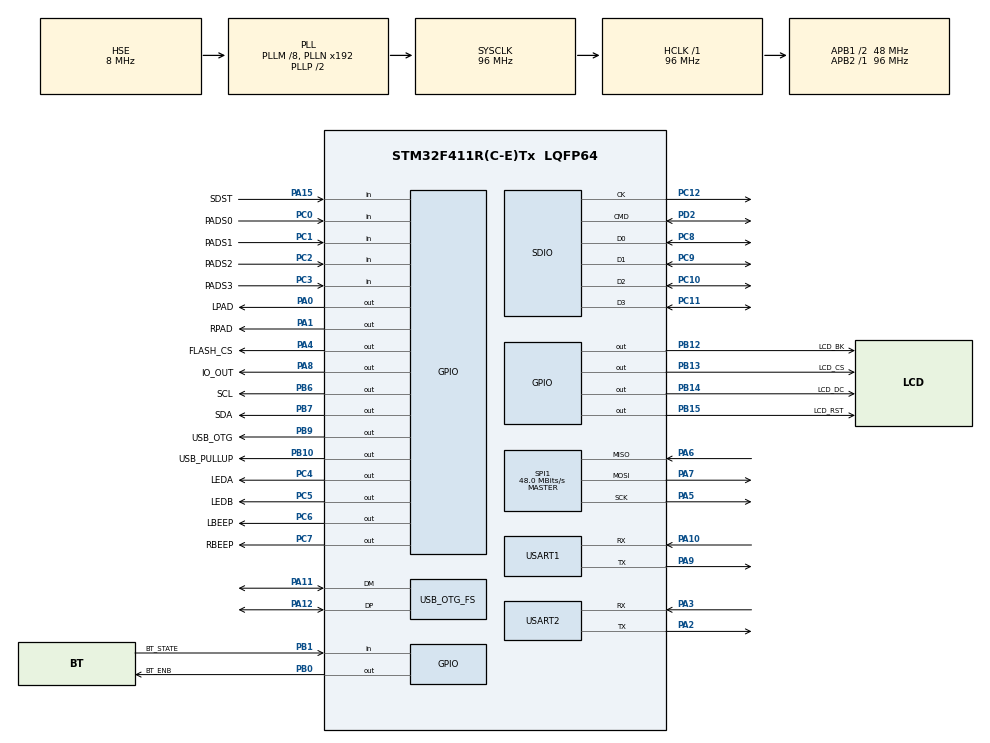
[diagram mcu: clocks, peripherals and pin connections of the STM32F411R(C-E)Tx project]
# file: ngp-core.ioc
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FATFS.BSP.number=1
FATFS.USE_DMA_CODE_SD=0
FATFS0.BSP.STBoard=false
FATFS0.BSP.api=UnknownBspDriver
FATFS0.BSP.i2caddr=0
FATFS0.BSP.i2creg=0
FATFS0.BSP.instance=PA15
FATFS0.BSP.ip=GPIO
FATFS0.BSP.mode=Input
FATFS0.BSP.name=Detect_SDIO
FATFS0.BSP.solution=PA15
Mcu.Family=STM32F4
Mcu.Name=STM32F411R(C-E)Tx
Mcu.Package=LQFP64
NVIC.OTG_FS_IRQn=true\:0\:0\:false\:false\:true\:true
NVIC.PriorityGroup=NVIC_PRIORITYGROUP_4
NVIC.TIM1_UP_TIM10_IRQn=true\:0\:0\:false\:false\:true\:true
PA0-WKUP.GPIO_Label=LPAD
PA0-WKUP.GPIO_Speed=GPIO_SPEED_FREQ_VERY_HIGH
PA0-WKUP.PinState=GPIO_PIN_RESET
PA0-WKUP.Signal=GPIO_Output
PA1.GPIO_Label=RPAD
PA1.GPIO_Speed=GPIO_SPEED_FREQ_VERY_HIGH
PA1.Signal=GPIO_Output
PA10.Mode=Asynchronous
PA10.Signal=USART1_RX
PA11.GPIO_PuPd=GPIO_NOPULL
PA11.Mode=Device_Only
PA11.Signal=USB_OTG_FS_DM
PA12.GPIO_PuPd=GPIO_NOPULL
PA12.Mode=Device_Only
PA12.Signal=USB_OTG_FS_DP
PA13.Mode=Serial_Wire
PA13.Signal=SYS_JTMS-SWDIO
PA14.Mode=Serial_Wire
PA14.Signal=SYS_JTCK-SWCLK
PA15.GPIO_Label=SDST
PA15.GPIO_PuPd=GPIO_PULLUP
PA15.Signal=GPIO_Input
PA2.Mode=Asynchronous
PA2.Signal=USART2_TX
PA3.Mode=Asynchronous
PA3.Signal=USART2_RX
PA4.GPIO_Label=FLASH_CS
PA4.GPIO_Speed=GPIO_SPEED_FREQ_VERY_HIGH
PA4.PinState=GPIO_PIN_SET
PA4.Signal=GPIO_Output
PA5.Mode=Full_Duplex_Master
PA5.Signal=SPI1_SCK
PA6.Mode=Full_Duplex_Master
PA6.Signal=SPI1_MISO
PA7.Mode=Full_Duplex_Master
PA7.Signal=SPI1_MOSI
PA8.GPIO_Label=IO_OUT
PA8.GPIO_Speed=GPIO_SPEED_FREQ_VERY_HIGH
PA8.Signal=GPIO_Output
PA9.Mode=Asynchronous
PA9.Signal=USART1_TX
PB0.GPIO_Label=BT_ENB
PB0.GPIO_Speed=GPIO_SPEED_FREQ_VERY_HIGH
PB0.PinState=GPIO_PIN_RESET
PB0.Signal=GPIO_Output
PB1.GPIO_Label=BT_STATE
PB1.GPIO_PuPd=GPIO_PULLUP
PB1.Signal=GPIO_Input
PB10.GPIO_Label=USB_PULLUP
PB10.GPIO_ModeDefaultOutputPP=GPIO_MODE_OUTPUT_PP
PB10.GPIO_PuPd=GPIO_NOPULL
PB10.GPIO_Speed=GPIO_SPEED_FREQ_VERY_HIGH
PB10.Signal=GPIO_Output
PB12.GPIO_Label=LCD_BK
PB12.GPIO_Speed=GPIO_SPEED_FREQ_VERY_HIGH
PB12.Signal=GPIO_Output
PB13.GPIO_Label=LCD_CS
PB13.GPIO_Speed=GPIO_SPEED_FREQ_VERY_HIGH
PB13.PinState=GPIO_PIN_SET
PB13.Signal=GPIO_Output
PB14.GPIO_Label=LCD_DC
PB14.GPIO_Speed=GPIO_SPEED_FREQ_VERY_HIGH
PB14.Signal=GPIO_Output
PB15.GPIO_Label=LCD_RST
PB15.GPIO_Speed=GPIO_SPEED_FREQ_VERY_HIGH
PB15.PinState=GPIO_PIN_SET
PB15.Signal=GPIO_Output
PB6.GPIO_Label=SCL
PB6.GPIO_Speed=GPIO_SPEED_FREQ_VERY_HIGH
PB6.Signal=GPIO_Output
PB7.GPIO_Label=SDA
PB7.GPIO_ModeDefaultOutputPP=GPIO_MODE_OUTPUT_OD
PB7.GPIO_Speed=GPIO_SPEED_FREQ_VERY_HIGH
PB7.Signal=GPIO_Output
PB9.GPIO_Label=USB_OTG
PB9.GPIO_Speed=GPIO_SPEED_FREQ_VERY_HIGH
PB9.PinState=GPIO_PIN_SET
PB9.Signal=GPIO_Output
PC0.GPIO_Label=PADS0
PC0.GPIO_PuPd=GPIO_PULLUP
PC0.Signal=GPIO_Input
PC1.GPIO_Label=PADS1
PC1.GPIO_PuPd=GPIO_PULLUP
PC1.Signal=GPIO_Input
PC10.Mode=SD_4_bits_Wide_bus
PC10.Signal=SDIO_D2
PC11.Mode=SD_4_bits_Wide_bus
PC11.Signal=SDIO_D3
PC12.Mode=SD_4_bits_Wide_bus
PC12.Signal=SDIO_CK
PC14-OSC32_IN.Mode=LSE-External-Oscillator
PC14-OSC32_IN.Signal=RCC_OSC32_IN
PC15-OSC32_OUT.Mode=LSE-External-Oscillator
PC15-OSC32_OUT.Signal=RCC_OSC32_OUT
PC2.GPIO_Label=PADS2
PC2.GPIO_PuPd=GPIO_PULLUP
PC2.Signal=GPIO_Input
PC3.GPIO_Label=PADS3
PC3.GPIO_PuPd=GPIO_PULLUP
PC3.Signal=GPIO_Input
PC4.GPIO_Label=LEDA
PC4.GPIO_Speed=GPIO_SPEED_FREQ_VERY_HIGH
PC4.Signal=GPIO_Output
PC5.GPIO_Label=LEDB
PC5.GPIO_Speed=GPIO_SPEED_FREQ_VERY_HIGH
PC5.Signal=GPIO_Output
PC6.GPIO_Label=LBEEP
PC6.GPIO_Speed=GPIO_SPEED_FREQ_VERY_HIGH
PC6.Signal=GPIO_Output
PC7.GPIO_Label=RBEEP
PC7.GPIO_Speed=GPIO_SPEED_FREQ_VERY_HIGH
PC7.Signal=GPIO_Output
PC8.Mode=SD_4_bits_Wide_bus
PC8.Signal=SDIO_D0
PC9.Mode=SD_4_bits_Wide_bus
PC9.Signal=SDIO_D1
PD2.Mode=SD_4_bits_Wide_bus
PD2.Signal=SDIO_CMD
PH0\ -\ OSC_IN.Mode=HSE-External-Oscillator
PH0\ -\ OSC_IN.Signal=RCC_OSC_IN
PH1\ -\ OSC_OUT.Mode=HSE-External-Oscillator
PH1\ -\ OSC_OUT.Signal=RCC_OSC_OUT
ProjectManager.HeapSize=0x200
ProjectManager.StackSize=0x400
ProjectManager.TargetToolchain=SW4STM32
RCC.48MHZClocksFreq_Value=48000000
RCC.AHBFreq_Value=96000000
RCC.APB1CLKDivider=RCC_HCLK_DIV2
RCC.APB1Freq_Value=48000000
RCC.APB1TimFreq_Value=96000000
RCC.APB2Freq_Value=96000000
RCC.APB2TimFreq_Value=96000000
RCC.CortexFreq_Value=96000000
RCC.EnbaleCSS=true
RCC.HCLKFreq_Value=96000000
RCC.HSE_VALUE=8000000
RCC.HSI_VALUE=16000000
RCC.PLLM=8
RCC.SYSCLKFreq_VALUE=96000000
RCC.SYSCLKSource=RCC_SYSCLKSOURCE_PLLCLK
RCC.VCOOutputFreq_Value=192000000
SDIO.ClockDiv=4
SDIO.WideMode=SDIO_BUS_WIDE_4B
SPI1.BaudRatePrescaler=SPI_BAUDRATEPRESCALER_2
SPI1.CalculateBaudRate=48.0 MBits/s
SPI1.Direction=SPI_DIRECTION_2LINES
SPI1.Mode=SPI_MODE_MASTER
SPI1.VirtualType=VM_MASTER
TIM10.Period=239
TIM10.Prescaler=4
USART1.VirtualMode=VM_ASYNC
USART2.VirtualMode=VM_ASYNC
USB_DEVICE.CLASS_NAME_FS=MSC
USB_DEVICE.CONFIGURATION_STRING_MSC_FS=NGP Config
USB_DEVICE.INTERFACE_STRING_MSC_FS=NGP Interface
USB_DEVICE.MANUFACTURER_STRING=NSDN
USB_DEVICE.PRODUCT_STRING_MSC_FS=NyaGame Portable 32-bit
USB_DEVICE.SERIALNUMBER_STRING_MSC_FS=000000000032
USB_DEVICE.USBD_HandleTypeDef=hUsbDeviceFS
USB_DEVICE.USBD_SELF_POWERED=0
USB_DEVICE.USBD_SUPPORT_USER_STRING=0
USB_DEVICE.VirtualMode=Msc
USB_DEVICE.VirtualModeFS=Msc_FS
USB_OTG_FS.Sof_enable=ENABLE
USB_OTG_FS.Sof_enable-Device_Only=DISABLE
USB_OTG_FS.VirtualMode=Device_Only
USB_OTG_FS.low_power_enable=DISABLE
USB_OTG_FS.vbus_sensing_enable=DISABLE
VP_FATFS_VS_SDIO.Mode=SDIO
VP_TIM10_VS_ClockSourceINT.Mode=Enable_Timer
VP_USB_DEVICE_VS_USB_DEVICE_MSC_FS.Mode=MSC_FS
board=ngp-core

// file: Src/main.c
/**
  ******************************************************************************
  * @file           : main.c
  * @brief          : Main program body
  ******************************************************************************
  * This notice applies to any and all portions of this file
  * that are not between comment pairs USER CODE BEGIN and
  * USER CODE END. Other portions of this file, whether
  * inserted by the user or by software development tools
  * are owned by their respective copyright owners.
  *
  * Copyright (c) 2018 STMicroelectronics International N.V.
  * All rights reserved.
  *
  * Redistribution and use in source and binary forms, with or without
  * modification, are permitted, provided that the following conditions are met:
  *
  * 1. Redistribution of source code must retain the above copyright notice,
  *    this list of conditions and the following disclaimer.
  * 2. Redistributions in binary form must reproduce the above copyright notice,
  *    this list of conditions and the following disclaimer in the documentation
  *    and/or other materials provided with the distribution.
  * 3. Neither the name of STMicroelectronics nor the names of other
  *    contributors to this software may be used to endorse or promote products
  *    derived from this software without specific written permission.
  * 4. This software, including modifications and/or derivative works of this
  *    software, must execute solely and exclusively on microcontroller or
  *    microprocessor devices manufactured by or for STMicroelectronics.
  * 5. Redistribution and use of this software other than as permitted under
  *    this license is void and will automatically terminate your rights under
  *    this license.
  *
  * THIS SOFTWARE IS PROVIDED BY STMICROELECTRONICS AND CONTRIBUTORS "AS IS"
  * AND ANY EXPRESS, IMPLIED OR STATUTORY WARRANTIES, INCLUDING, BUT NOT
  * LIMITED TO, THE IMPLIED WARRANTIES OF MERCHANTABILITY, FITNESS FOR A
  * PARTICULAR PURPOSE AND NON-INFRINGEMENT OF THIRD PARTY INTELLECTUAL PROPERTY
  * RIGHTS ARE DISCLAIMED TO THE FULLEST EXTENT PERMITTED BY LAW. IN NO EVENT
  * SHALL STMICROELECTRONICS OR CONTRIBUTORS BE LIABLE FOR ANY DIRECT, INDIRECT,
  * INCIDENTAL, SPECIAL, EXEMPLARY, OR CONSEQUENTIAL DAMAGES (INCLUDING, BUT NOT
  * LIMITED TO, PROCUREMENT OF SUBSTITUTE GOODS OR SERVICES; LOSS OF USE, DATA,
  * OR PROFITS; OR BUSINESS INTERRUPTION) HOWEVER CAUSED AND ON ANY THEORY OF
  * LIABILITY, WHETHER IN CONTRACT, STRICT LIABILITY, OR TORT (INCLUDING
  * NEGLIGENCE OR OTHERWISE) ARISING IN ANY WAY OUT OF THE USE OF THIS SOFTWARE,
  * EVEN IF ADVISED OF THE POSSIBILITY OF SUCH DAMAGE.
  *
  ******************************************************************************
  */
#include "main.h"
#include "stm32f4xx_hal.h"
#include "fatfs.h"
#include "usb_device.h"

/* USER CODE BEGIN Includes */
#include "usbd_core.h"

#include "irq.h"
#include "lcd.h"
#include "rgboled.h"
#include "keypad.h"
#include "beeper.h"
#include "flash.h"

#define VERSION "dev180521"
/* USER CODE END Includes */

SD_HandleTypeDef hsd;

SPI_HandleTypeDef hspi1;

TIM_HandleTypeDef htim10;

UART_HandleTypeDef huart1;
UART_HandleTypeDef huart2;

/* USER CODE BEGIN PV */
/* Private variables ---------------------------------------------------------*/
	LCD* dev;
	Flash* flash;
	static uint8_t sdOK = 0;
	static uint8_t menu = 0;
	static uint8_t music = 0;

	const uint8_t cmusic = 7;

	HAL_SD_CardInfoTypeDef SDCardInfo;

	FATFS fileSystem;
	FIL testFile;
	uint8_t testBuffer[16] = "Hello Gensokyo!\0";
	UINT testBytes;
	FRESULT res;
/* USER CODE END PV */

void SystemClock_Config(void);
static void MX_GPIO_Init(void);
static void MX_SDIO_SD_Init(void);
static void MX_SPI1_Init(void);
static void MX_TIM10_Init(void);
static void MX_USART1_UART_Init(void);
static void MX_USART2_UART_Init(void);

/* USER CODE BEGIN PFP */
/* Private function prototypes -----------------------------------------------*/

/** STG Begin *********************************************************************/

#define STG_BACK 1
#define STG_MAIN 2
#define STG_COLORB 0x000000

#define RANGE_X1 4
#define RANGE_Y1 4
#define RANGE_X2 92
#define RANGE_Y2 123

void onInitPlayer(void);
void onUpdatePlayer(void);
struct Player {
	uint32_t color;
	uint8_t size;
	double x;
	double y;
	double prevX;
	double prevY;
	void (*onInit)();
	void (*onUpdate)();
} player = { 0xFF9800, 1,
	(RANGE_X2 + RANGE_X1) / 2, 108,
	(RANGE_X2 + RANGE_X1) / 2, 108,
	&onInitPlayer,
	&onUpdatePlayer
};
void onInitPlayer() {
	player.x = (RANGE_X2 + RANGE_X1) / 2;
	player.y = 108;
}
void onUpdatePlayer() {
	player.prevX = player.x; player.prevY = player.y;
	if (checkKey(LPAD_LEFT)) { player.x -= 0.4; }
	if (checkKey(LPAD_RIGHT)) { player.x += 0.4; }
	if (checkKey(LPAD_UP)) { player.y -= 0.4; }
	if (checkKey(LPAD_DOWN)) { player.y += 0.4; }

	if (player.x > RANGE_X2 - player.size) player.x = RANGE_X2 - player.size;
	if (player.x < RANGE_X1 + player.size) player.x = RANGE_X1 + player.size;
	if (player.y > RANGE_Y2 - player.size) player.y = RANGE_Y2 - player.size;
	if (player.y < RANGE_Y1 + player.size) player.y = RANGE_Y1 + player.size;

	if ((char) player.x != (char) player.prevX || (char) player.y != (char) player.prevY) {
		dev->colorf(dev->p, STG_COLORB);
		dev->rect(dev->p,
			player.prevX - player.size, player.prevY - player.size,
			player.prevX + player.size, player.prevY + player.size,
			1
		);
	}
	dev->colorf(dev->p, player.color);
	dev->rect(dev->p,
		player.x - player.size, player.y - player.size,
		player.x + player.size, player.y + player.size,
		1
	);
}

void STG(uint8_t type) {
	if (type == STG_BACK) {
		dev->colorf(dev->p, 0xFFFFFF);
		dev->rect(dev->p, RANGE_X1 - 4, RANGE_Y1 - 4, RANGE_X2 + 4, RANGE_Y2 + 4, 1);
		dev->colorf(dev->p, STG_COLORB);
		dev->rect(dev->p, RANGE_X1 - 2, RANGE_Y1 - 2, RANGE_X2 + 2, RANGE_Y2 + 2, 1);
		dev->colorf(dev->p, 0xFFFFFF);
		dev->rect(dev->p, RANGE_X1 - 1, RANGE_Y1 - 1, RANGE_X2 + 1, RANGE_Y2 + 1, 0);
		dev->colorf(dev->p, 0x7986CB);
		dev->font(dev->p, Big);
		dev->draw(dev->p, RANGE_X2 + 12, RANGE_Y1 + 4, 'T');
		dev->draw(dev->p, RANGE_X2 + 12 + 8, RANGE_Y1 + 4, 'H');
		dev->font(dev->p, Small);
		dev->colorf(dev->p, 0xFFFFFF);

		player.onInit();
	} else if (type == STG_MAIN) {
		player.onUpdate();
	}
}

/** STG End ***********************************************************************/

/* USER CODE END PFP */

/* USER CODE BEGIN 0 */
void checkSD() {
	if (HAL_GPIO_ReadPin(SDST_GPIO_Port, SDST_Pin) == GPIO_PIN_RESET && sdOK == 0) {
		HAL_SD_Init(&hsd);
		HAL_SD_GetCardInfo(&hsd, &SDCardInfo);
		sdOK = 1;
		USBD_Start(&hUsbDeviceFS);
	} else if (HAL_GPIO_ReadPin(SDST_GPIO_Port, SDST_Pin) == GPIO_PIN_SET && sdOK == 1) {
		HAL_SD_DeInit(&hsd);
		sdOK = 0;
		USBD_Stop(&hUsbDeviceFS);
	}
	if (sdOK == 1) {
		dev->colorb(dev->p, 0x66CCFF);
		dev->colorf(dev->p, 0x000000);
		dev->print(dev->p, 113, 118, "SD");
		dev->colorf(dev->p, 0x66CCFF);
		dev->rect(dev->p, 113, 117, 125, 125, 0);
		dev->colorb(dev->p, 0x000000);
		dev->colorf(dev->p, 0xFFFFFF);
	} else {
		dev->p->foreColor = dev->p->backColor;
		dev->rect(dev->p, 113, 117, 125, 125, 1);
		dev->colorf(dev->p, 0xFFFFFF);
	}
}

int halfWidth() { return dev->p->width / 2 - 1; }
int halfHeight() { return dev->p->height / 2 - 1; }
/* USER CODE END 0 */

int main(void)
{

  /* MCU Configuration----------------------------------------------------------*/

  /* Reset of all peripherals, Initializes the Flash interface and the Systick. */
  HAL_Init();

  /* Configure the system clock */
  SystemClock_Config();

  /* Initialize all configured peripherals */
  MX_GPIO_Init();
  MX_SDIO_SD_Init();
  MX_SPI1_Init();
  MX_TIM10_Init();
  MX_USART1_UART_Init();
  MX_USART2_UART_Init();
  MX_FATFS_Init();
  MX_USB_DEVICE_Init();
  /* USER CODE BEGIN 2 */
	USBD_Stop(&hUsbDeviceFS);
	if (HAL_GPIO_ReadPin(SDST_GPIO_Port, SDST_Pin) == GPIO_PIN_RESET && sdOK == 0) {
		HAL_SD_Init(&hsd);
		HAL_SD_GetCardInfo(&hsd, &SDCardInfo);
		sdOK = 1;
		USBD_Start(&hUsbDeviceFS);
	} else if (HAL_GPIO_ReadPin(SDST_GPIO_Port, SDST_Pin) == GPIO_PIN_SET && sdOK == 1) {
		HAL_SD_DeInit(&hsd);
		sdOK = 0;
		USBD_Stop(&hUsbDeviceFS);
	}

	HAL_Delay(500);

	const uint8_t* logo = getLogo();
	const uint16_t* symbol = getSymbol();

	flash = FlashInit(&hspi1,
			FLASH_CS_GPIO_Port, FLASH_CS_Pin, W25Q64);

	dev = LCDInit(&hspi1, 0,
			LCD_DC_GPIO_Port, LCD_DC_Pin,
			LCD_CS_GPIO_Port, LCD_CS_Pin,
			LCD_RST_GPIO_Port, LCD_RST_Pin,
			LCD_BK_GPIO_Port, LCD_BK_Pin);

	/*dev = LCDInit(&hspi1, 1,
			LCD_DC_GPIO_Port, LCD_DC_Pin,
			LCD_BK_GPIO_Port, LCD_BK_Pin,
			LCD_RST_GPIO_Port, LCD_RST_Pin,
			LCD_CS_GPIO_Port, LCD_CS_Pin);*/

	/*dev = RGBOLEDInit(&hspi1,
			LCD_DC_GPIO_Port, LCD_DC_Pin,
			LCD_CS_GPIO_Port, LCD_CS_Pin,
			LCD_RST_GPIO_Port, LCD_RST_Pin);*/

	dev->reset(dev->p);

	dev->init(dev->p);

	dev->colorb(dev->p, 0xFFFFFF);
	dev->colorf(dev->p, 0x000000);
	dev->clear(dev->p);
	dev->bitmapsc(dev->p, halfWidth() - 1, halfHeight() - 1, 64, 64, logo);
	HAL_Delay(2000);
	dev->colorb(dev->p, 0x000000);
	dev->colorf(dev->p, 0xFFFFFF);
	dev->clear(dev->p);

	HAL_GPIO_WritePin(LEDA_GPIO_Port, LEDA_Pin, GPIO_PIN_RESET);
	HAL_GPIO_WritePin(LEDB_GPIO_Port, LEDB_Pin, GPIO_PIN_SET);

	{

		f_mount(&fileSystem, SDPath, 1);
		if(f_mount(&fileSystem, SDPath, 1) == FR_OK) {
			uint8_t path[13] = "NYA_GAME.TXT";
			path[12] = '\0';

			res = f_open(&testFile, (char*)path, FA_WRITE | FA_CREATE_ALWAYS);

			res = f_write(&testFile, testBuffer, 16, &testBytes);

			res = f_close(&testFile);
		}

	}

  /* USER CODE END 2 */

  /* Infinite loop */
  /* USER CODE BEGIN WHILE */
  while (1)
  {
	  if (menu < 10) {
			/* MENU BUILD BEGIN */
			dev->colorb(dev->p, 0x000000);
			dev->colorf(dev->p, 0xFF9800);
			dev->printfc(dev->p, 8, "MENU");
			dev->colorb(dev->p, 0x000000);
			dev->colorf(dev->p, 0xFFFFFF);
			dev->printfc(dev->p, 24, "W25Q64 Test");
			dev->printfc(dev->p, 32, "STG Sample");
			dev->printfc(dev->p, 40, "Flash Test");
			dev->printfc(dev->p, 48, "NSDN-Beeper");
			dev->printfc(dev->p, 56, "About this NGP");

			dev->draw(dev->p, (halfWidth() - 64) + 10, (menu + 2) * 8, ' ');
			dev->draw(dev->p, (halfWidth() - 64) + 10, (menu + 3) * 8, '>');
			dev->draw(dev->p, (halfWidth() - 64) + 10, (menu + 4) * 8, ' ');
			dev->draw(dev->p, (halfWidth() - 64) + 112, (menu + 2) * 8, ' ');
			dev->draw(dev->p, (halfWidth() - 64) + 112, (menu + 3) * 8, '<');
			dev->draw(dev->p, (halfWidth() - 64) + 112, (menu + 4) * 8, ' ');

			if (waitKeyUp(LPAD_UP)) menu = ((menu > 0) ? menu - 1 : 0);
			if (waitKeyUp(LPAD_DOWN)) menu = ((menu < 4) ? menu + 1 : 4);
			if (waitKeyUp(RPAD_UP)) {
				menu += 10;
				dev->clear(dev->p);

				switch (menu) {
				 	case 10:
						break;
					case 11:
						STG(STG_BACK);
						break;
					case 12:
						break;
					case 13:
						HAL_TIM_Base_Start_IT(&htim10);
						setVolume(5);
						music = 0;
						break;
					case 14:
						dev->colorb(dev->p, 0xFFFFFF);
						dev->colorf(dev->p, 0x000000);
						dev->clear(dev->p);
						break;
					default:
						break;
				}
			}
		} else if (menu < 20) {
			switch (menu) {
				case 10:
					dev->colorb(dev->p, 0x000000);
					dev->colorf(dev->p, 0xFF9800);
					dev->printfc(dev->p, 8, "W25Q64 Test");
					dev->colorb(dev->p, 0x000000);
					dev->colorf(dev->p, 0xFFFFFF);
					dev->printfc(dev->p, 48, "Init W25Q64...");
					uint8_t result = 0, manuf = 0, buf = 0;
					result = flash->begin(flash->p);
					manuf = flash->readManufacturer(flash->p);
					flash->read(flash->p, 0x00000000, &buf, 1);
					flash->end(flash->p);
					dev->printfc(dev->p, 64, "Result: %X", result);
					dev->printfc(dev->p, 72, "Manuf: %X", manuf);
					dev->printfc(dev->p, 80, "Buf: %X", buf);
					break;
				case 11:
					STG(STG_MAIN);
					break;
				case 12:
					dev->colorb(dev->p, 0x000000);
					dev->colorf(dev->p, 0xFF9800);
					dev->printfc(dev->p, 8, "Flash Test");
					dev->colorb(dev->p, 0x000000);
					dev->colorf(dev->p, 0x3F51B5);
					dev->printfc(dev->p, 24, "Flashing: 0x3F51B5");
					dev->rect(dev->p, 16, 48, dev->p->width - 16, dev->p->height - 16, 1);
					dev->colorf(dev->p, 0xB10000);
					dev->printfc(dev->p, 24, "Flashing: 0xB10000");
					dev->rect(dev->p, 16, 48, 112, 112, 1);
					dev->colorf(dev->p, 0xFFFFFF);
					break;
				case 13:
					dev->colorb(dev->p, 0x000000);
					dev->colorf(dev->p, 0xFF9800);
					dev->printfc(dev->p, 8, "NSDN-Beeper");
					dev->colorb(dev->p, 0x000000);
					dev->colorf(dev->p, 0xFFFFFF);
					dev->printfc(dev->p, 32, "NOW Playing...");
					dev->printfc(dev->p, 48, "%d of %d", cmusic, music + 1);
					switch (music) {
						case 0:
							dev->printfc(dev->p, 64, "Septet for");
							dev->printfc(dev->p, 72, "the Dead Princess");
							playMusicWithSpace(symbol, getMusic(0), 233, 16, 1);
							break;
						case 1:
							dev->printfc(dev->p, 64, "The Way of Doom God");
							dev->printfc(dev->p, 72, "- Dark Road -");
							playMusicWithSpace(symbol, getMusic(1), 233, 16, 1);
							break;
						case 2:
							dev->printfc(dev->p, 64, "Romantic Escape");
							dev->printfc(dev->p, 72, "Flight & Foul for");
							dev->printfc(dev->p, 80, "Impossible Bullets");
							playMusicWithSpace(symbol, getMusic(2), 233, 16, 1);
							break;
						case 3:
							dev->printfc(dev->p, 64, "Lively and Innocent");
							dev->printfc(dev->p, 72, "Girl (9)");
							playMusicWithSpace(symbol, getMusic(3), 233, 16, 1);
							break;
						case 4:
							dev->printfc(dev->p, 64, "Broken Moon");
							playMusicWithSpace(symbol, getMusic(4), 233, 16, 1);
							break;
						case 5:
							dev->printfc(dev->p, 64, "U.N. Owen was her?");
							playMusicWithSpace(symbol, getMusic(5), 128, 16, 1);
							break;
						case 6:
							dev->printfc(dev->p, 64, "Staking Your Life");
							dev->printfc(dev->p, 72, "on a Prank");
							playMusicWithSpace(symbol, getMusic(6), 192, 8, 1);
							break;
					}
					break;
				case 14:
					dev->colorb(dev->p, 0xFFFFFF);
					dev->colorf(dev->p, 0x000000);
					dev->bitmapsc(dev->p, halfWidth() - 1, (halfHeight() - 64) + 48, 64, 64, logo);
					dev->printfc(dev->p, (halfHeight() - 64) + 86, "NyaGame Portable");
					dev->printfc(dev->p, (halfHeight() - 64) + 98, VERSION);
					break;
				default:
					break;
			}

			if (menu == 11) {
				if (waitKeyUp(RPAD_DOWN)) {
					menu -= 10;
					dev->colorb(dev->p, 0x000000);
					dev->colorf(dev->p, 0xFF9800);
					dev->clear(dev->p);
				}
			}
			if (menu != 13 && menu != 11) {
				if (waitKeyUp(RPAD_RIGHT)) {
					menu -= 10;
					dev->colorb(dev->p, 0x000000);
					dev->colorf(dev->p, 0xFF9800);
					dev->clear(dev->p);

					switch (menu) {
						case 10:
							break;
						case 11:
							break;
						case 12:
							break;
						case 13:
							HAL_TIM_Base_Start_IT(&htim10);
							setVolume(2);
							break;
						case 14:
							break;
						default:
							break;
					}
				}
			}
		} else {
			menu = 0;
			dev->clear(dev->p);
		}
  /* USER CODE END WHILE */

  /* USER CODE BEGIN 3 */
		HAL_GPIO_TogglePin(LEDA_GPIO_Port, LEDA_Pin);
		HAL_GPIO_TogglePin(LEDB_GPIO_Port, LEDB_Pin);
		checkSD();
  }
  /* USER CODE END 3 */

}

void SystemClock_Config(void)
{

  RCC_OscInitTypeDef RCC_OscInitStruct;
  RCC_ClkInitTypeDef RCC_ClkInitStruct;

    /**Configure the main internal regulator output voltage
    */
  __HAL_RCC_PWR_CLK_ENABLE();

  __HAL_PWR_VOLTAGESCALING_CONFIG(PWR_REGULATOR_VOLTAGE_SCALE1);

    /**Initializes the CPU, AHB and APB busses clocks
    */
  RCC_OscInitStruct.OscillatorType = RCC_OSCILLATORTYPE_HSE;
  RCC_OscInitStruct.HSEState = RCC_HSE_ON;
  RCC_OscInitStruct.PLL.PLLState = RCC_PLL_ON;
  RCC_OscInitStruct.PLL.PLLSource = RCC_PLLSOURCE_HSE;
  RCC_OscInitStruct.PLL.PLLM = 8;
  RCC_OscInitStruct.PLL.PLLN = 192;
  RCC_OscInitStruct.PLL.PLLP = RCC_PLLP_DIV2;
  RCC_OscInitStruct.PLL.PLLQ = 4;
  if (HAL_RCC_OscConfig(&RCC_OscInitStruct) != HAL_OK)
  {
    _Error_Handler(__FILE__, __LINE__);
  }

    /**Initializes the CPU, AHB and APB busses clocks
    */
  RCC_ClkInitStruct.ClockType = RCC_CLOCKTYPE_HCLK|RCC_CLOCKTYPE_SYSCLK
                              |RCC_CLOCKTYPE_PCLK1|RCC_CLOCKTYPE_PCLK2;
  RCC_ClkInitStruct.SYSCLKSource = RCC_SYSCLKSOURCE_PLLCLK;
  RCC_ClkInitStruct.AHBCLKDivider = RCC_SYSCLK_DIV1;
  RCC_ClkInitStruct.APB1CLKDivider = RCC_HCLK_DIV2;
  RCC_ClkInitStruct.APB2CLKDivider = RCC_HCLK_DIV1;

  if (HAL_RCC_ClockConfig(&RCC_ClkInitStruct, FLASH_LATENCY_3) != HAL_OK)
  {
    _Error_Handler(__FILE__, __LINE__);
  }

    /**Enables the Clock Security System
    */
  HAL_RCC_EnableCSS();

    /**Configure the Systick interrupt time
    */
  HAL_SYSTICK_Config(HAL_RCC_GetHCLKFreq()/1000);

    /**Configure the Systick
    */
  HAL_SYSTICK_CLKSourceConfig(SYSTICK_CLKSOURCE_HCLK);

  /* SysTick_IRQn interrupt configuration */
  HAL_NVIC_SetPriority(SysTick_IRQn, 0, 0);
}

/* SDIO init function */
static void MX_SDIO_SD_Init(void)
{

  hsd.Instance = SDIO;
  hsd.Init.ClockEdge = SDIO_CLOCK_EDGE_RISING;
  hsd.Init.ClockBypass = SDIO_CLOCK_BYPASS_DISABLE;
  hsd.Init.ClockPowerSave = SDIO_CLOCK_POWER_SAVE_DISABLE;
  hsd.Init.BusWide = SDIO_BUS_WIDE_1B;
  hsd.Init.HardwareFlowControl = SDIO_HARDWARE_FLOW_CONTROL_DISABLE;
  hsd.Init.ClockDiv = 4;

}

/* SPI1 init function */
static void MX_SPI1_Init(void)
{

  /* SPI1 parameter configuration*/
  hspi1.Instance = SPI1;
  hspi1.Init.Mode = SPI_MODE_MASTER;
  hspi1.Init.Direction = SPI_DIRECTION_2LINES;
  hspi1.Init.DataSize = SPI_DATASIZE_8BIT;
  hspi1.Init.CLKPolarity = SPI_POLARITY_LOW;
  hspi1.Init.CLKPhase = SPI_PHASE_1EDGE;
  hspi1.Init.NSS = SPI_NSS_SOFT;
  hspi1.Init.BaudRatePrescaler = SPI_BAUDRATEPRESCALER_2;
  hspi1.Init.FirstBit = SPI_FIRSTBIT_MSB;
  hspi1.Init.TIMode = SPI_TIMODE_DISABLE;
  hspi1.Init.CRCCalculation = SPI_CRCCALCULATION_DISABLE;
  hspi1.Init.CRCPolynomial = 10;
  if (HAL_SPI_Init(&hspi1) != HAL_OK)
  {
    _Error_Handler(__FILE__, __LINE__);
  }

}

/* TIM10 init function */
static void MX_TIM10_Init(void)
{

  htim10.Instance = TIM10;
  htim10.Init.Prescaler = 4;
  htim10.Init.CounterMode = TIM_COUNTERMODE_UP;
  htim10.Init.Period = 239;
  htim10.Init.ClockDivision = TIM_CLOCKDIVISION_DIV1;
  if (HAL_TIM_Base_Init(&htim10) != HAL_OK)
  {
    _Error_Handler(__FILE__, __LINE__);
  }

}

/* USART1 init function */
static void MX_USART1_UART_Init(void)
{

  huart1.Instance = USART1;
  huart1.Init.BaudRate = 115200;
  huart1.Init.WordLength = UART_WORDLENGTH_8B;
  huart1.Init.StopBits = UART_STOPBITS_1;
  huart1.Init.Parity = UART_PARITY_NONE;
  huart1.Init.Mode = UART_MODE_TX_RX;
  huart1.Init.HwFlowCtl = UART_HWCONTROL_NONE;
  huart1.Init.OverSampling = UART_OVERSAMPLING_16;
  if (HAL_UART_Init(&huart1) != HAL_OK)
  {
    _Error_Handler(__FILE__, __LINE__);
  }

}

/* USART2 init function */
static void MX_USART2_UART_Init(void)
{

  huart2.Instance = USART2;
  huart2.Init.BaudRate = 115200;
  huart2.Init.WordLength = UART_WORDLENGTH_8B;
  huart2.Init.StopBits = UART_STOPBITS_1;
  huart2.Init.Parity = UART_PARITY_NONE;
  huart2.Init.Mode = UART_MODE_TX_RX;
  huart2.Init.HwFlowCtl = UART_HWCONTROL_NONE;
  huart2.Init.OverSampling = UART_OVERSAMPLING_16;
  if (HAL_UART_Init(&huart2) != HAL_OK)
  {
    _Error_Handler(__FILE__, __LINE__);
  }

}

/** Configure pins as
        * Analog
        * Input
        * Output
        * EVENT_OUT
        * EXTI
*/
static void MX_GPIO_Init(void)
{

  GPIO_InitTypeDef GPIO_InitStruct;

  /* GPIO Ports Clock Enable */
  __HAL_RCC_GPIOC_CLK_ENABLE();
  __HAL_RCC_GPIOH_CLK_ENABLE();
  __HAL_RCC_GPIOA_CLK_ENABLE();
  __HAL_RCC_GPIOB_CLK_ENABLE();
  __HAL_RCC_GPIOD_CLK_ENABLE();

  /*Configure GPIO pin Output Level */
  HAL_GPIO_WritePin(GPIOA, LPAD_Pin|RPAD_Pin|IO_OUT_Pin, GPIO_PIN_RESET);

  /*Configure GPIO pin Output Level */
  HAL_GPIO_WritePin(FLASH_CS_GPIO_Port, FLASH_CS_Pin, GPIO_PIN_SET);

  /*Configure GPIO pin Output Level */
  HAL_GPIO_WritePin(GPIOC, LEDA_Pin|LEDB_Pin|LBEEP_Pin|RBEEP_Pin, GPIO_PIN_RESET);

  /*Configure GPIO pin Output Level */
  HAL_GPIO_WritePin(GPIOB, BT_ENB_Pin|USB_PULLUP_Pin|LCD_BK_Pin|LCD_DC_Pin
                          |SCL_Pin|SDA_Pin, GPIO_PIN_RESET);

  /*Configure GPIO pin Output Level */
  HAL_GPIO_WritePin(GPIOB, LCD_CS_Pin|LCD_RST_Pin|USB_OTG_Pin, GPIO_PIN_SET);

  /*Configure GPIO pins : PADS0_Pin PADS1_Pin PADS2_Pin PADS3_Pin */
  GPIO_InitStruct.Pin = PADS0_Pin|PADS1_Pin|PADS2_Pin|PADS3_Pin;
  GPIO_InitStruct.Mode = GPIO_MODE_INPUT;
  GPIO_InitStruct.Pull = GPIO_PULLUP;
  HAL_GPIO_Init(GPIOC, &GPIO_InitStruct);

  /*Configure GPIO pins : LPAD_Pin RPAD_Pin FLASH_CS_Pin IO_OUT_Pin */
  GPIO_InitStruct.Pin = LPAD_Pin|RPAD_Pin|FLASH_CS_Pin|IO_OUT_Pin;
  GPIO_InitStruct.Mode = GPIO_MODE_OUTPUT_PP;
  GPIO_InitStruct.Pull = GPIO_NOPULL;
  GPIO_InitStruct.Speed = GPIO_SPEED_FREQ_VERY_HIGH;
  HAL_GPIO_Init(GPIOA, &GPIO_InitStruct);

  /*Configure GPIO pins : LEDA_Pin LEDB_Pin LBEEP_Pin RBEEP_Pin */
  GPIO_InitStruct.Pin = LEDA_Pin|LEDB_Pin|LBEEP_Pin|RBEEP_Pin;
  GPIO_InitStruct.Mode = GPIO_MODE_OUTPUT_PP;
  GPIO_InitStruct.Pull = GPIO_NOPULL;
  GPIO_InitStruct.Speed = GPIO_SPEED_FREQ_VERY_HIGH;
  HAL_GPIO_Init(GPIOC, &GPIO_InitStruct);

  /*Configure GPIO pins : BT_ENB_Pin USB_PULLUP_Pin LCD_BK_Pin LCD_CS_Pin
                           LCD_DC_Pin LCD_RST_Pin SCL_Pin USB_OTG_Pin */
  GPIO_InitStruct.Pin = BT_ENB_Pin|USB_PULLUP_Pin|LCD_BK_Pin|LCD_CS_Pin
                          |LCD_DC_Pin|LCD_RST_Pin|SCL_Pin|USB_OTG_Pin;
  GPIO_InitStruct.Mode = GPIO_MODE_OUTPUT_PP;
  GPIO_InitStruct.Pull = GPIO_NOPULL;
  GPIO_InitStruct.Speed = GPIO_SPEED_FREQ_VERY_HIGH;
  HAL_GPIO_Init(GPIOB, &GPIO_InitStruct);

  /*Configure GPIO pin : BT_STATE_Pin */
  GPIO_InitStruct.Pin = BT_STATE_Pin;
  GPIO_InitStruct.Mode = GPIO_MODE_INPUT;
  GPIO_InitStruct.Pull = GPIO_PULLUP;
  HAL_GPIO_Init(BT_STATE_GPIO_Port, &GPIO_InitStruct);

  /*Configure GPIO pin : SDST_Pin */
  GPIO_InitStruct.Pin = SDST_Pin;
  GPIO_InitStruct.Mode = GPIO_MODE_INPUT;
  GPIO_InitStruct.Pull = GPIO_PULLUP;
  HAL_GPIO_Init(SDST_GPIO_Port, &GPIO_InitStruct);

  /*Configure GPIO pin : SDA_Pin */
  GPIO_InitStruct.Pin = SDA_Pin;
  GPIO_InitStruct.Mode = GPIO_MODE_OUTPUT_OD;
  GPIO_InitStruct.Pull = GPIO_NOPULL;
  GPIO_InitStruct.Speed = GPIO_SPEED_FREQ_VERY_HIGH;
  HAL_GPIO_Init(SDA_GPIO_Port, &GPIO_InitStruct);

}

/* USER CODE BEGIN 4 */

void TIM_IRQ_Callback(TIM_HandleTypeDef *htim)
{
	if (htim->Instance == TIM10) {
		if (menu == 13) {
			if (waitKeyUp(RPAD_RIGHT)) {
				jumpOut();
				menu -= 10;
				dev->colorb(dev->p, 0x000000);
				dev->clear(dev->p);
				HAL_TIM_Base_Stop_IT(&htim10);
				HAL_GPIO_WritePin(LBEEP_GPIO_Port, LBEEP_Pin, GPIO_PIN_RESET);
				HAL_GPIO_WritePin(RBEEP_GPIO_Port, RBEEP_Pin, GPIO_PIN_RESET);
			}
			if (waitKeyUp(LPAD_UP)) {
				if (music > 0) music -= 1;
				else music = cmusic - 1;
				jumpOut();
				dev->colorb(dev->p, 0x000000);
				dev->clear(dev->p);
			} else if (waitKeyUp(LPAD_DOWN)) {
				if (music < cmusic - 1) music += 1;
				else music = 0;
				jumpOut();
				dev->colorb(dev->p, 0x000000);
				dev->clear(dev->p);
			}
		}
		beeperInerrupt();
	}

}

/* USER CODE END 4 */

void _Error_Handler(char *file, int line)
{
  while(1)
  {
  }
}

/************************ (C) COPYRIGHT STMicroelectronics *****END OF FILE****/
